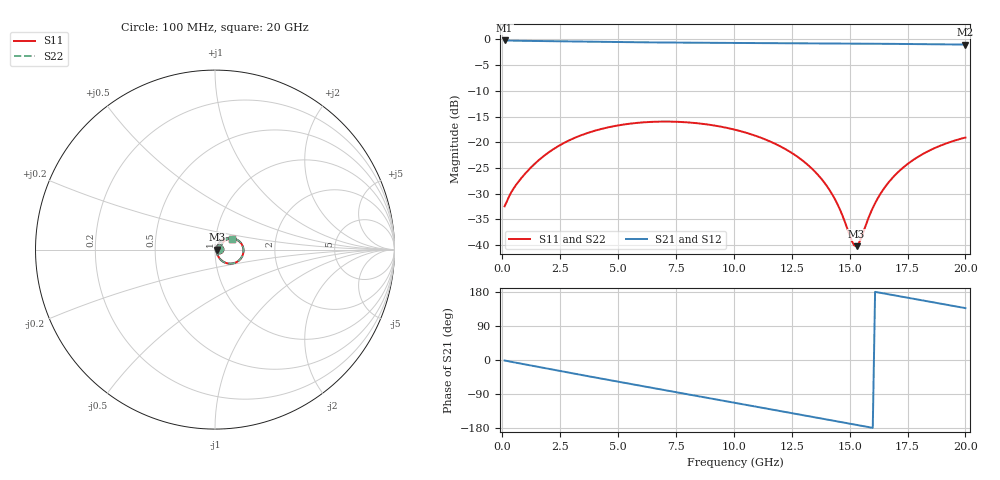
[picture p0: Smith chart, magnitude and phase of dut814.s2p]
! Touchstone file exported from HFSS 2026.1.0
!  File:  C:/ffzhzh/LocalFiles/Ansys_Project_Files/temp_train_TSV_RDL_814_1783264522_38704.aedt
!  Generated:  11:24:33 PM Jul  5, 2026
!  Design:  TSV_RDL
!  Project:  temp_train_TSV_RDL_814_1783264522_38704
! Variables:
!  h_bsmrdl = 5.35um
!  h_ox = 20um
!  h_rdl = 5um
!  h_sub = 74.1um
!  h_tmrdl = 3.73um
!  h_tsv = 74.1um
!  h_via = 3um
!  l_bsmrdl = 499.96um
!  l_sub = 3823.61um
!  l_tmrdl = 458.95um
!  m_sub = 200um
!  pitch = 20.24um
!  r_tsv = 3.85um
!  s_tmrdl = 10um
!  w_bsmrdl = 14.67um
!  w_sub = 500um
!  w_tmrdl = 14.64um
!  x_tsv_center1 = 466.27um
!  x_tsv_center2 = 980.9um
!  x_tsv_center3 = 1454.49um
!  x_tsv_center4 = 1969.12um
!  x_tsv_center5 = 2442.71um
!  x_tsv_center6 = 2957.34um
# GHz S MA R 50.000000
! Terminal data exported
! Port[1] = TM_RDL1_1_T1
! Port[2] = TM_RDL5_1_T1
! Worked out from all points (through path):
!   200 points, 100 MHz to 20 GHz, reference 50 ohm
!   highest |S21| = -0.20 dB at 100 MHz (marker M1); lowest = -1.0 dB at 20 GHz (marker M2)
!   group delay of S21, straight-line fit = 30.9 ps
!   lowest |S11| = -40.2 dB at 15.3 GHz (marker M3), VSWR 1.02, Z = 51 + j0.0339 ohm
!   |S11| at or under -10 dB: start of sweep to end of sweep
!   |S22| runs from -40.2 to -16.0 dB; largest |S21 - S12| = 4.6e-14
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0.1  0.02385 12.8  0.9769 -1.3  0.9769 -1.3  0.02385 12.8
! Gamma 0 0 0 0
! Port Impedance 50 0 50 0
0.6  0.03872 35.0  0.9709 -7.2  0.9709 -7.2  0.03872 35.0
1.5  0.06478 42.7  0.9659 -17.6  0.9659 -17.6  0.06478 42.7
2.4  0.09124 39.6  0.9605 -27.9  0.9605 -27.9  0.09124 39.6
3.5  0.1192 31.0  0.9529 -40.4  0.9529 -40.4  0.1192 31.0
5.2  0.1484 14.7  0.9417 -59.4  0.9417 -59.4  0.1484 14.7
6.8  0.1589 -1.4  0.9337 -77.1  0.9337 -77.1  0.1589 -1.4
8.4  0.1534 -17.5  0.9285 -94.7  0.9285 -94.7  0.1534 -17.5
10.1  0.1316 -34.5  0.9249 -113.5  0.9249 -113.5  0.1316 -34.4
12  0.09151 -52.4  0.9214 -134.5  0.9214 -134.5  0.09149 -52.4
13.4  0.0547 -62.9  0.918 -150.1  0.918 -150.1  0.05468 -62.9
13.9  0.04083 -64.6  0.9166 -155.7  0.9166 -155.7  0.04081 -64.7
14.3  0.02977 -63.5  0.9153 -160.2  0.9153 -160.2  0.02974 -63.6
14.7  0.01918 -56.3  0.9139 -164.6  0.9139 -164.6  0.01915 -56.4
15.1  0.01091 -27.8  0.9124 -169.1  0.9124 -169.1  0.01086 -27.8
15.3  0.00978 1.9  0.9116 -171.3  0.9116 -171.3  0.00973 2.1
15.4  0.01044 16.9  0.9112 -172.4  0.9112 -172.4  0.01039 17.1
16.1  0.02555 56.1  0.9083 179.8  0.9083 179.8  0.02554 56.3
16.7  0.04122 58.6  0.9056 173.2  0.9056 173.2  0.04122 58.7
17.3  0.05652 56.1  0.9029 166.5  0.9029 166.5  0.05653 56.2
18.1  0.07553 50.4  0.8992 157.7  0.8992 157.7  0.07554 50.5
20  0.1112 33.4  0.891 136.9  0.891 136.9  0.1112 33.5
